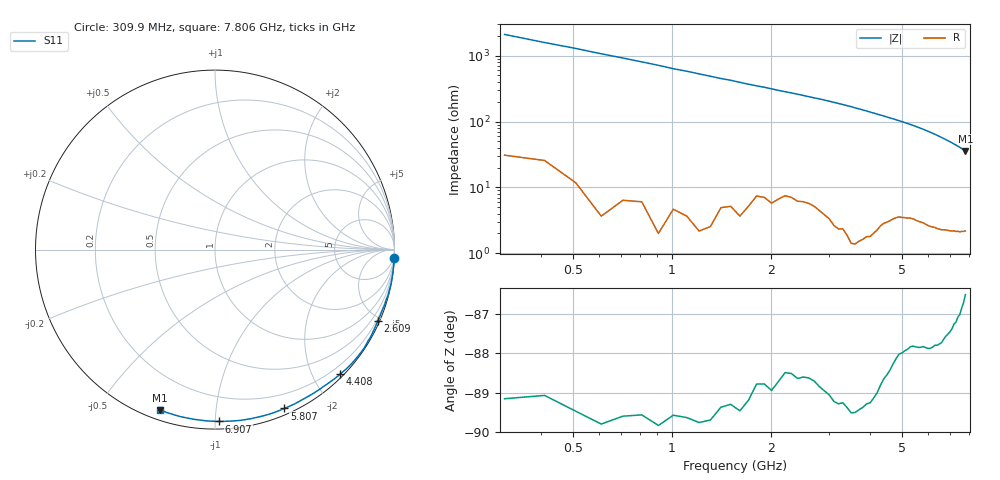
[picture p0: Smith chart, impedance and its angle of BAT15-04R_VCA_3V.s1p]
! Infineon Technologies  Discrete & RF Semiconductors
! BAT15-04R
! VCA = 3 V
! One-Port S-Parameters
# Hz  S  MA  R  50
!f  S11
!Hz  Mag  Ang
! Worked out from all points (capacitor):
!   76 points, 309.9 MHz to 7.806 GHz, reference 50 ohm
!   read as one part to ground: C = 245 fF near 309.9 MHz
!   lowest |Z| = 35.8 ohm at 7.806 GHz (marker M1)
!   S11 on the Smith chart (normalised r, x): 309.9 MHz: 1, -42; 2.609 GHz: 0.11, -4.76; 4.408 GHz: 0.06, -2.42; 5.807 GHz: 0.06, -1.53; 6.907 GHz: 0.04, -1.02; 7.806 GHz: 0.04, -0.71
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3.0985e8  0.9993 -2.7
9.0955e8  0.9996 -8.0
1.30935e9  0.9989 -11.7
1.6092e9  0.9977 -14.5
2.009e9  0.9943 -18.1
2.2089e9  0.991 -20.0
2.6087e9  0.9904 -23.7
2.90855e9  0.9919 -26.6
3.2084e9  0.9938 -29.8
3.50825e9  0.9954 -33.2
3.70815e9  0.9943 -35.6
4.10795e9  0.9902 -40.8
4.4078e9  0.9835 -44.8
4.70765e9  0.9774 -48.9
5.0075e9  0.9723 -53.3
5.30735e9  0.9684 -57.9
5.50725e9  0.9674 -61.2
5.8071e9  0.9658 -66.4
6.007e9  0.9657 -70.1
6.2069e9  0.9644 -74.0
6.50675e9  0.9622 -80.1
6.70665e9  0.9598 -84.3
6.90655e9  0.9575 -88.6
7.10645e9  0.9552 -92.9
7.30635e9  0.9527 -97.4
7.50625e9  0.9502 -102.0
7.70615e9  0.9464 -106.5
7.8061e9  0.9438 -108.9
